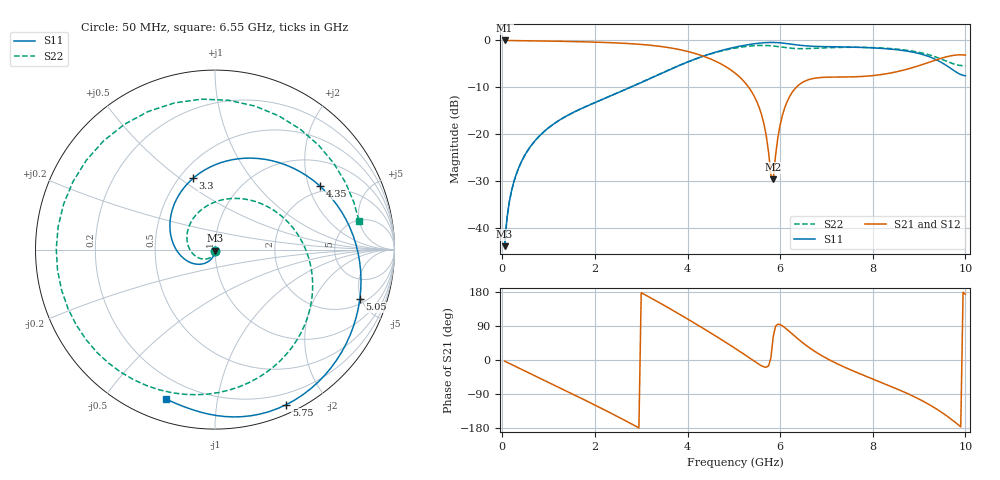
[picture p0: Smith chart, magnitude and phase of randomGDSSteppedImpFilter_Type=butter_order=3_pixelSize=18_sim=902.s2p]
! freq	dB(S11)	phase(S11)	dB(S12)	phase(S12)
!  dB(S21)	phase(S21)	dB(S22)	phase(S22)
!S-par simulation data
#  GHz  S  DB  R 50
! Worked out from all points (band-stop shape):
!   200 points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, 50 MHz to 10 GHz, reference 50 ohm
!   highest |S21| = -0.01 dB at 50 MHz (marker M1); lowest = -29.6 dB at 5.85 GHz (marker M2)
!   |S21| within 3 dB of the highest: start of sweep to 4.238 GHz
!   lowest |S11| = -43.8 dB at 50 MHz (marker M3), VSWR 1.01, Z = 50 - j0.645 ohm
!   |S11| at or under -10 dB: start of sweep to 2.766 GHz
!   |S22| runs from -43.8 to -1.1 dB; largest |S21 - S12| = 0
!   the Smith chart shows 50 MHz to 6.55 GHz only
!   S11 on the Smith chart (normalised r, x): 50 MHz: 1.00, -0.01; 3.3 GHz: 0.58, +0.56; 4.35 GHz: 1.78, +2.37; 5.05 GHz: 2.43, -4.88; 5.75 GHz: 0.09, -1.56; 6.55 GHz: 0.10, -0.72
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0.05  -43.81 -91.5  -0.01 -3.0  -0.01 -3.0  -43.81 -92.7
0.2  -32.00 -98.7  -0.02 -11.9  -0.02 -11.9  -32.03 -104.1
0.5  -24.21 -113.3  -0.06 -29.5  -0.06 -29.5  -24.25 -126.7
1.15  -17.51 -142.6  -0.16 -67.9  -0.16 -67.9  -17.52 -174.9
1.75  -14.33 -169.2  -0.29 -103.8  -0.29 -103.8  -14.32 139.6
2.6  -10.72 149.5  -0.59 -156.4  -0.59 -156.4  -10.69 75.5
3.3  -7.62 107.0  -1.14 157.5  -1.14 157.5  -7.58 25.9
3.4  -7.17 100.2  -1.26 150.7  -1.26 150.7  -7.14 19.0
4.35  -3.31 31.3  -3.38 82.6  -3.38 82.6  -3.34 -48.1
5.05  -1.39 -18.8  -7.15 29.0  -7.15 29.0  -1.59 -106.8
5.5  -0.63 -48.9  -13.12 -8.0  -13.12 -8.0  -1.09 -158.1
5.75  -0.44 -65.3  -23.80 -15.3  -23.80 -15.3  -1.10 163.3
5.85  -0.43 -71.6  -29.59 61.2  -29.59 61.2  -1.18 145.2
5.95  -0.47 -77.9  -20.71 94.3  -20.71 94.3  -1.30 125.8
6.15  -0.68 -89.4  -13.05 80.5  -13.05 80.5  -1.56 84.8
6.55  -1.15 -108.1  -8.60 39.6  -8.60 39.6  -1.75 11.1
6.7  -1.24 -114.4  -8.14 26.6  -8.14 26.6  -1.70 -10.1
7.35  -1.38 -141.5  -7.79 -16.7  -7.79 -16.7  -1.47 -71.0
8.35  -1.81 170.8  -7.00 -67.5  -7.00 -67.5  -1.71 -124.1
9.3  -3.78 99.0  -4.37 -123.5  -4.37 -123.5  -3.32 -161.3
9.7  -6.07 42.0  -3.25 -156.9  -3.25 -156.9  -4.84 -169.7
10  -7.53 -23.2  -3.13 173.6  -3.13 173.6  -5.35 -168.8
